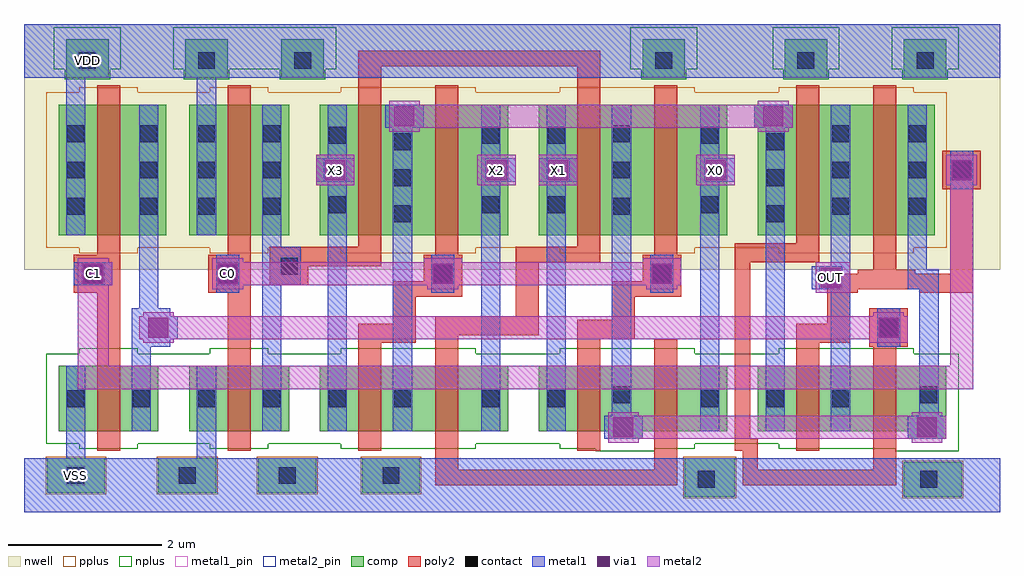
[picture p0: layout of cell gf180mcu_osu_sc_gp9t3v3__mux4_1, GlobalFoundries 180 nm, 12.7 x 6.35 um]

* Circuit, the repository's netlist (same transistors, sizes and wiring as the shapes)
** sch_path: /foss/designs/MULTIPLEXER4/Files/gf180mcu_osu_sc_gp9t3v3__mux4_1.sch
.subckt gf180mcu_osu_sc_gp9t3v3__mux4_1 VDD C1 C0 VSS X0 X1 OUT X2 X3
*.ipin X0
*.ipin X1
*.ipin X2
*.ipin X3
*.ipin C0
*.ipin C1
*.opin OUT
*.iopin VDD
*.iopin VSS
XM1 X0 net3 net1 VSS nfet_03v3 L=0.3u W=0.85u nf=1 ad='int((nf+1)/2) * W/nf * 0.18u' as='int((nf+2)/2) * W/nf * 0.18u' pd='2*int((nf+1)/2) * (W/nf + 0.18u)'
+ ps='2*int((nf+2)/2) * (W/nf + 0.18u)' nrd='0.18u / W' nrs='0.18u / W' sa=0 sb=0 sd=0 m=1
XM2 X0 C0 net1 VDD pfet_03v3 L=0.3u W=1.7u nf=1 ad='int((nf+1)/2) * W/nf * 0.18u' as='int((nf+2)/2) * W/nf * 0.18u' pd='2*int((nf+1)/2) * (W/nf + 0.18u)'
+ ps='2*int((nf+2)/2) * (W/nf + 0.18u)' nrd='0.18u / W' nrs='0.18u / W' sa=0 sb=0 sd=0 m=1
XM3 X1 C0 net1 VSS nfet_03v3 L=0.3u W=0.85u nf=1 ad='int((nf+1)/2) * W/nf * 0.18u' as='int((nf+2)/2) * W/nf * 0.18u' pd='2*int((nf+1)/2) * (W/nf + 0.18u)'
+ ps='2*int((nf+2)/2) * (W/nf + 0.18u)' nrd='0.18u / W' nrs='0.18u / W' sa=0 sb=0 sd=0 m=1
XM5 X2 net3 net2 VSS nfet_03v3 L=0.3u W=0.85u nf=1 ad='int((nf+1)/2) * W/nf * 0.18u' as='int((nf+2)/2) * W/nf * 0.18u' pd='2*int((nf+1)/2) * (W/nf + 0.18u)'
+ ps='2*int((nf+2)/2) * (W/nf + 0.18u)' nrd='0.18u / W' nrs='0.18u / W' sa=0 sb=0 sd=0 m=1
XM7 X3 C0 net2 VSS nfet_03v3 L=0.3u W=0.85u nf=1 ad='int((nf+1)/2) * W/nf * 0.18u' as='int((nf+2)/2) * W/nf * 0.18u' pd='2*int((nf+1)/2) * (W/nf + 0.18u)'
+ ps='2*int((nf+2)/2) * (W/nf + 0.18u)' nrd='0.18u / W' nrs='0.18u / W' sa=0 sb=0 sd=0 m=1
XM9 net2 C1 OUT VSS nfet_03v3 L=0.3u W=0.85u nf=1 ad='int((nf+1)/2) * W/nf * 0.18u' as='int((nf+2)/2) * W/nf * 0.18u' pd='2*int((nf+1)/2) * (W/nf + 0.18u)'
+ ps='2*int((nf+2)/2) * (W/nf + 0.18u)' nrd='0.18u / W' nrs='0.18u / W' sa=0 sb=0 sd=0 m=1
XM11 net1 net4 OUT VSS nfet_03v3 L=0.3u W=0.85u nf=1 ad='int((nf+1)/2) * W/nf * 0.18u' as='int((nf+2)/2) * W/nf * 0.18u' pd='2*int((nf+1)/2) * (W/nf + 0.18u)'
+ ps='2*int((nf+2)/2) * (W/nf + 0.18u)' nrd='0.18u / W' nrs='0.18u / W' sa=0 sb=0 sd=0 m=1
XM4 X1 net3 net1 VDD pfet_03v3 L=0.3u W=1.7u nf=1 ad='int((nf+1)/2) * W/nf * 0.18u' as='int((nf+2)/2) * W/nf * 0.18u' pd='2*int((nf+1)/2) * (W/nf + 0.18u)'
+ ps='2*int((nf+2)/2) * (W/nf + 0.18u)' nrd='0.18u / W' nrs='0.18u / W' sa=0 sb=0 sd=0 m=1
XM6 X2 C0 net2 VDD pfet_03v3 L=0.3u W=1.7u nf=1 ad='int((nf+1)/2) * W/nf * 0.18u' as='int((nf+2)/2) * W/nf * 0.18u' pd='2*int((nf+1)/2) * (W/nf + 0.18u)'
+ ps='2*int((nf+2)/2) * (W/nf + 0.18u)' nrd='0.18u / W' nrs='0.18u / W' sa=0 sb=0 sd=0 m=1
XM8 X3 net3 net2 VDD pfet_03v3 L=0.3u W=1.7u nf=1 ad='int((nf+1)/2) * W/nf * 0.18u' as='int((nf+2)/2) * W/nf * 0.18u' pd='2*int((nf+1)/2) * (W/nf + 0.18u)'
+ ps='2*int((nf+2)/2) * (W/nf + 0.18u)' nrd='0.18u / W' nrs='0.18u / W' sa=0 sb=0 sd=0 m=1
XM10 net2 net4 OUT VDD pfet_03v3 L=0.3u W=1.7u nf=1 ad='int((nf+1)/2) * W/nf * 0.18u' as='int((nf+2)/2) * W/nf * 0.18u' pd='2*int((nf+1)/2) * (W/nf + 0.18u)'
+ ps='2*int((nf+2)/2) * (W/nf + 0.18u)' nrd='0.18u / W' nrs='0.18u / W' sa=0 sb=0 sd=0 m=1
XM12 net1 C1 OUT VDD pfet_03v3 L=0.3u W=1.7u nf=1 ad='int((nf+1)/2) * W/nf * 0.18u' as='int((nf+2)/2) * W/nf * 0.18u' pd='2*int((nf+1)/2) * (W/nf + 0.18u)'
+ ps='2*int((nf+2)/2) * (W/nf + 0.18u)' nrd='0.18u / W' nrs='0.18u / W' sa=0 sb=0 sd=0 m=1
XM13 net3 C0 VSS VSS nfet_03v3 L=0.3u W=0.85u nf=1 ad='int((nf+1)/2) * W/nf * 0.18u' as='int((nf+2)/2) * W/nf * 0.18u' pd='2*int((nf+1)/2) * (W/nf + 0.18u)'
+ ps='2*int((nf+2)/2) * (W/nf + 0.18u)' nrd='0.18u / W' nrs='0.18u / W' sa=0 sb=0 sd=0 m=1
XM14 net3 C0 VDD VDD pfet_03v3 L=0.3u W=1.7u nf=1 ad='int((nf+1)/2) * W/nf * 0.18u' as='int((nf+2)/2) * W/nf * 0.18u' pd='2*int((nf+1)/2) * (W/nf + 0.18u)'
+ ps='2*int((nf+2)/2) * (W/nf + 0.18u)' nrd='0.18u / W' nrs='0.18u / W' sa=0 sb=0 sd=0 m=1
XM15 net4 C1 VSS VSS nfet_03v3 L=0.3u W=0.85u nf=1 ad='int((nf+1)/2) * W/nf * 0.18u' as='int((nf+2)/2) * W/nf * 0.18u' pd='2*int((nf+1)/2) * (W/nf + 0.18u)'
+ ps='2*int((nf+2)/2) * (W/nf + 0.18u)' nrd='0.18u / W' nrs='0.18u / W' sa=0 sb=0 sd=0 m=1
XM16 net4 C1 VDD VDD pfet_03v3 L=0.3u W=1.7u nf=1 ad='int((nf+1)/2) * W/nf * 0.18u' as='int((nf+2)/2) * W/nf * 0.18u' pd='2*int((nf+1)/2) * (W/nf + 0.18u)'
+ ps='2*int((nf+2)/2) * (W/nf + 0.18u)' nrd='0.18u / W' nrs='0.18u / W' sa=0 sb=0 sd=0 m=1

.ends gf180mcu_osu_sc_gp9t3v3__mux4_1

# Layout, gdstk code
import gdstk
lib = gdstk.Library(unit=1e-6, precision=1e-09)
def R(c, l, rs):  # rectangles x0, y0, x1, y1
    for r in rs: c.add(gdstk.rectangle(r[:2], r[2:], *l))
def A(c, l, x, y, w, h, nx, ny, dx, dy):  # array of equal rectangles
    R(c, l, [(x+i*dx, y+j*dy, x+i*dx+w, y+j*dy+h) for i in range(nx) for j in range(ny)])
nwell = (21, 0)
comp = (22, 0)
poly2 = (30, 0)
pplus = (31, 0)
nplus = (32, 0)
contact = (33, 0)
metal1 = (34, 0)
metal1_pin = (34, 10)
via1 = (35, 0)
metal2 = (36, 0)
metal2_pin = (36, 10)

gf180mcu_osu_sc_gp9t3v3_ = lib.new_cell('gf180mcu_osu_sc_gp9t3v3__mux4_1')
R(gf180mcu_osu_sc_gp9t3v3_, nwell, [(-1.7,3.15,11,6.35)])
A(gf180mcu_osu_sc_gp9t3v3_, comp, 2.15, 1.05, 2.45, 0.85, 3, 1, 2.85, 0)
R(gf180mcu_osu_sc_gp9t3v3_, comp, [(6.9,0.2,7.55,0.7), (9.75,0.2,10.5,0.65), (-1.4,0.25,-0.65,0.7), (0.05,0.25,0.8,0.7), (1.35,0.25,2.1,0.7), (2.7,0.25,3.45,0.7), (5.9,0.95,6.35,1.05), (9.8,0.95,10.3,1.05), (-1.25,1.05,0.05,1.9), (0.45,1.05,1.75,1.9), (-1.25,3.6,0.15,5.3), (0.45,3.6,1.75,5.3), (2.15,3.6,4.6,4.25), (5,3.6,7.45,5.3), (7.85,3.6,10.15,5), (2.1,4.25,4.6,4.65), (2.15,4.65,4.6,5.3), (7.8,5,10.15,5.3), (-1.15,5.65,-0.6,6.15), (0.4,5.65,0.95,6.15), (1.65,5.65,2.2,6.15), (6.35,5.65,6.9,6.15), (8.2,5.65,8.75,6.15), (9.75,5.65,10.3,6.15)])
R(gf180mcu_osu_sc_gp9t3v3_, poly2, [(3.65,0.35,6.8,0.55), (7.65,0.35,9.65,0.55), (3.65,0.55,3.95,2.3), (6.5,0.55,6.8,2.25), (7.65,0.55,7.85,0.8), (9.35,0.55,9.65,2.15), (-0.75,0.8,-0.45,2.85), (0.95,0.8,1.25,2.85), (2.65,0.8,2.95,2.2), (5.5,0.8,5.8,2.25), (7.55,0.8,7.85,0.95), (8.35,0.8,8.65,2.2), (7.55,0.95,7.75,3.25), (9.3,2.15,9.8,2.65), (2.65,2.2,3.4,2.45), (8.35,2.2,9.05,2.45), (5.5,2.25,6.25,2.5), (3.65,2.3,5,2.55), (3.1,2.45,3.4,2.8), (8.75,2.45,9.05,2.85), (5.95,2.5,6.25,2.8), (4.7,2.55,5,3.25), (3.1,2.8,4,3), (5.95,2.8,6.85,3), (-1.05,2.85,-0.45,3.35), (0.7,2.85,1.25,3.35), (8.75,2.85,9.15,2.9), (9.95,2.85,10.65,2.9), (8.75,2.9,10.65,3), (1.5,2.95,2,3.2), (3.5,3,4,3.35), (6.35,3,6.85,3.35), (8.8,3,10.65,3.05), (8.9,3.05,10.65,3.1), (9.15,3.1,9.9,3.15), (10.35,3.1,10.65,4.2), (9.35,3.15,9.65,5.55), (1.5,3.2,2.95,3.45), (4.7,3.25,5.8,3.45), (7.55,3.25,8.65,3.5), (-0.75,3.35,-0.45,5.55), (0.95,3.35,1.25,5.55), (3.65,3.35,3.95,5.55), (6.5,3.35,6.8,5.55), (2.65,3.45,2.95,5.8), (5.5,3.45,5.8,5.8), (8.35,3.5,8.65,5.55), (10.25,4.2,10.75,4.7), (2.65,5.8,5.8,6)])
A(gf180mcu_osu_sc_gp9t3v3_, pplus, 2.42, 3.37, 1.76, 0.07, 3, 2, 2.85, 2.09)
R(gf180mcu_osu_sc_gp9t3v3_, pplus, [(6.88,0.18,7.57,0.72), (9.73,0.18,10.52,0.67), (-1.42,0.23,-0.63,0.72), (0.03,0.23,0.82,0.72), (1.33,0.23,2.12,0.72), (2.68,0.23,3.47,0.72), (-0.98,3.37,-0.22,3.44), (0.72,3.37,1.48,3.44), (-1.41,3.44,10.31,5.46), (-0.98,5.46,-0.22,5.53), (0.72,5.46,1.48,5.53)])
A(gf180mcu_osu_sc_gp9t3v3_, nplus, 2.42, 2.06, 1.76, 0.07, 3, 1, 2.85, 0)
R(gf180mcu_osu_sc_gp9t3v3_, nplus, [(5.74,0.79,6.51,0.82), (9.64,0.79,10.46,0.82), (-0.98,0.82,-0.22,0.89), (0.72,0.82,1.48,0.89), (2.42,0.82,4.18,0.89), (5.27,0.82,7.03,0.89), (8.12,0.82,10.46,0.89), (-1.41,0.89,10.46,2.06), (-0.98,2.06,-0.22,2.13), (0.72,2.06,1.48,2.13), (-1.17,5.63,-0.58,5.76), (0.38,5.63,0.97,5.76), (1.63,5.63,2.22,5.76), (6.33,5.63,6.92,5.76), (8.18,5.63,8.77,5.76), (9.73,5.63,10.32,5.76), (-1.31,5.76,-0.44,6.31), (0.24,5.76,2.36,6.31), (6.19,5.76,7.06,6.31), (8.04,5.76,8.91,6.31), (9.59,5.76,10.46,6.31)])
A(gf180mcu_osu_sc_gp9t3v3_, contact, -1.135, 1.365, 0.22, 0.22, 6, 1, 0.85, 0)
A(gf180mcu_osu_sc_gp9t3v3_, contact, 7.115, 1.365, 0.22, 0.22, 3, 1, 0.85, 0)
A(gf180mcu_osu_sc_gp9t3v3_, contact, 3.115, 3.77, 0.22, 0.22, 1, 3, 0, 0.47)
A(gf180mcu_osu_sc_gp9t3v3_, contact, 7.965, 3.77, 0.22, 0.22, 1, 3, 0, 0.47)
A(gf180mcu_osu_sc_gp9t3v3_, contact, -1.135, 3.87, 0.22, 0.22, 1, 3, 0, 0.47)
A(gf180mcu_osu_sc_gp9t3v3_, contact, -0.185, 3.87, 0.22, 0.22, 1, 3, 0, 0.47)
A(gf180mcu_osu_sc_gp9t3v3_, contact, 0.565, 3.87, 0.22, 0.22, 1, 3, 0, 0.47)
A(gf180mcu_osu_sc_gp9t3v3_, contact, 1.415, 3.87, 0.22, 0.22, 1, 3, 0, 0.47)
A(gf180mcu_osu_sc_gp9t3v3_, contact, 5.965, 3.87, 0.22, 0.22, 1, 3, 0, 0.47)
A(gf180mcu_osu_sc_gp9t3v3_, contact, 8.815, 3.87, 0.22, 0.22, 1, 3, 0, 0.47)
A(gf180mcu_osu_sc_gp9t3v3_, contact, 9.815, 3.87, 0.22, 0.22, 1, 3, 0, 0.47)
R(gf180mcu_osu_sc_gp9t3v3_, contact, [(7.065,0.315,7.285,0.535), (9.965,0.315,10.185,0.535), (-1.135,0.365,-0.915,0.585), (0.315,0.365,0.535,0.585), (1.615,0.365,1.835,0.585), (2.965,0.365,3.185,0.585), (4.265,1.365,4.485,1.585), (5.115,1.365,5.335,1.585), (5.965,1.415,6.185,1.635), (9.965,1.415,10.185,1.635), (9.44,2.29,9.66,2.51), (-0.91,2.99,-0.69,3.21), (0.84,2.99,1.06,3.21), (3.64,2.99,3.86,3.21), (6.49,2.99,6.71,3.21), (1.64,3.09,1.86,3.31), (2.265,3.89,2.485,4.11), (4.265,3.89,4.485,4.11), (5.115,3.89,5.335,4.11), (7.115,3.89,7.335,4.11), (10.39,4.34,10.61,4.56), (2.265,4.79,2.485,5.01), (4.265,4.79,4.485,5.01), (5.115,4.79,5.335,5.01), (7.115,4.79,7.335,5.01), (-0.985,5.765,-0.765,5.985), (0.565,5.765,0.785,5.985), (1.815,5.765,2.035,5.985), (6.515,5.765,6.735,5.985), (8.365,5.765,8.585,5.985), (9.915,5.765,10.135,5.985)])
R(gf180mcu_osu_sc_gp9t3v3_, metal1, [(-1.7,0,11,0.7), (-1.15,0.7,-0.9,1.9), (0.55,0.7,0.8,1.9), (5.85,0.95,6.35,1.25), (9.8,0.95,10.3,1.25), (-0.3,1.05,-0.05,2.15), (1.4,1.05,1.65,2.95), (2.25,1.05,2.5,4.3), (3.1,1.05,3.35,5), (4.25,1.05,4.5,4.3), (5.1,1.05,5.35,4.3), (7.1,1.05,7.35,4.3), (7.95,1.05,8.2,5), (8.8,1.05,9.05,2.9), (5.95,1.25,6.2,5.3), (9.95,1.25,10.2,2.9), (-0.3,2.15,0.2,2.25), (9.4,2.15,9.7,2.65), (-0.3,2.25,0.3,2.55), (-0.3,2.55,0.2,2.65), (-0.2,2.65,0.05,5.3), (0.8,2.85,1.1,3.35), (3.6,2.85,3.9,3.35), (6.45,2.85,6.75,3.35), (8.55,2.9,9.05,3.2), (9.8,2.9,10.2,3.15), (-1.05,2.95,-0.55,3.25), (1.4,2.95,1.9,3.45), (9.8,3.15,10.05,5.3), (8.8,3.2,9.05,5.3), (1.4,3.45,1.65,5.3), (-1.15,3.6,-0.9,5.65), (0.55,3.6,0.8,5.65), (10.35,4.2,10.65,4.7), (2.1,4.3,2.6,4.6), (4.25,4.3,4.7,4.6), (5,4.3,5.5,4.6), (7.1,4.3,7.55,4.6), (2.25,4.6,2.5,5.3), (4.25,4.6,4.5,5.3), (5.1,4.6,5.35,5.3), (7.1,4.6,7.35,5.3), (3,5,3.5,5.3), (7.8,5,8.3,5.3), (-1.7,5.65,11,6.35)])
R(gf180mcu_osu_sc_gp9t3v3_, metal1_pin, [(-1.15,0.35,-0.9,0.6), (-1,5.75,-0.75,6)])
R(gf180mcu_osu_sc_gp9t3v3_, via1, [(5.97,0.97,6.23,1.23), (9.92,0.97,10.18,1.23), (-0.08,2.27,0.18,2.53), (9.42,2.27,9.68,2.53), (8.67,2.92,8.93,3.18), (-0.93,2.97,-0.67,3.23), (0.82,2.97,1.08,3.23), (3.62,2.97,3.88,3.23), (6.47,2.97,6.73,3.23), (2.22,4.32,2.48,4.58), (4.32,4.32,4.58,4.58), (5.12,4.32,5.38,4.58), (7.17,4.32,7.43,4.58), (10.37,4.32,10.63,4.58), (3.12,5.02,3.38,5.28), (7.92,5.02,8.18,5.28)])
R(gf180mcu_osu_sc_gp9t3v3_, metal2, [(5.9,0.9,6.3,0.95), (9.85,0.9,10.25,0.95), (5.9,0.95,10.3,1.25), (5.9,1.25,6.3,1.3), (9.85,1.25,10.25,1.3), (-1,1.6,10.65,1.9), (-1,1.9,-0.6,2.95), (10.35,1.9,10.65,4.25), (-0.15,2.2,0.25,2.25), (9.3,2.2,9.8,2.25), (-0.2,2.25,9.8,2.55), (-0.15,2.55,0.25,2.6), (9.35,2.55,9.75,2.6), (8.6,2.85,9.05,3.25), (0.75,2.9,1.15,2.95), (3.55,2.9,3.95,2.95), (6.4,2.9,6.8,2.95), (-1,2.95,-0.55,3.25), (0.75,2.95,6.85,3.25), (-1,3.25,-0.6,3.3), (0.75,3.25,1.15,3.3), (3.5,3.25,4,3.3), (6.35,3.25,6.85,3.3), (2.1,4.25,2.6,4.65), (4.2,4.25,4.7,4.65), (5,4.25,5.5,4.65), (7.05,4.25,7.55,4.65), (10.3,4.25,10.7,4.65), (3.05,4.95,3.45,5), (7.85,4.95,8.25,5), (3.05,5,8.3,5.3), (3.05,5.3,3.45,5.35), (7.85,5.3,8.25,5.35)])
R(gf180mcu_osu_sc_gp9t3v3_, metal2_pin, [(8.65,2.9,8.95,3.2), (-0.95,2.95,-0.65,3.25), (0.8,2.95,1.1,3.25), (2.2,4.3,2.5,4.6), (4.3,4.3,4.6,4.6), (5.1,4.3,5.4,4.6), (7.15,4.3,7.45,4.6)])
gf180mcu_osu_sc_gp9t3v3_.add(gdstk.Label('VDD', (-0.875,5.875), layer=34, texttype=10))
gf180mcu_osu_sc_gp9t3v3_.add(gdstk.Label('C1', (-0.8,3.1), layer=36, texttype=10))
gf180mcu_osu_sc_gp9t3v3_.add(gdstk.Label('C0', (0.95,3.1), layer=36, texttype=10))
gf180mcu_osu_sc_gp9t3v3_.add(gdstk.Label('VSS', (-1.025,0.475), layer=34, texttype=10))
gf180mcu_osu_sc_gp9t3v3_.add(gdstk.Label('X0', (7.3,4.45), layer=36, texttype=10))
gf180mcu_osu_sc_gp9t3v3_.add(gdstk.Label('X1', (5.25,4.45), layer=36, texttype=10))
gf180mcu_osu_sc_gp9t3v3_.add(gdstk.Label('OUT', (8.8,3.05), layer=36, texttype=10))
gf180mcu_osu_sc_gp9t3v3_.add(gdstk.Label('X3', (2.35,4.45), layer=36, texttype=10))
gf180mcu_osu_sc_gp9t3v3_.add(gdstk.Label('X2', (4.45,4.45), layer=36, texttype=10))

lib.write_gds('gf180mcu_osu_sc_gp9t3v3__mux4_1.gds')
